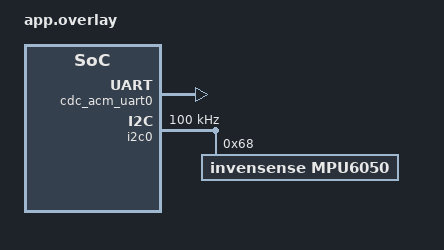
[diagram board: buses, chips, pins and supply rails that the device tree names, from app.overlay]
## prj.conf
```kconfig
# ==============================================================================
# Basic System Configuration (for Zephyr v4.3.0)
# ==============================================================================
CONFIG_CPP=y
CONFIG_GLIBCXX_LIBCPP=y

# CONFIG_NEWLIB_LIBC=y
# CONFIG_NEWLIB_LIBC_FLOAT_PRINTF=y

CONFIG_CBPRINTF_FP_SUPPORT=y
CONFIG_FPU=y
CONFIG_MAIN_STACK_SIZE=8192

# ==============================================================================
# Logging, Console & Shell
# ==============================================================================
CONFIG_SERIAL=y
CONFIG_CONSOLE=y
CONFIG_UART_CONSOLE=y
CONFIG_UART_LINE_CTRL=y
CONFIG_ASSERT=y
CONFIG_PRINTK=y
CONFIG_LOG=y
CONFIG_LOG_MODE_IMMEDIATE=y

# ==============================================================================
# USB Configuration (for Zephyr v4.3.0)
# ==============================================================================
CONFIG_USB_DEVICE_STACK=y
CONFIG_USB_CDC_ACM=y
CONFIG_USB_DEVICE_PRODUCT="RPi Pico EI Demo"
CONFIG_USB_DEVICE_VID=0x0001

# ==============================================================================
# Hardware Drivers
# ==============================================================================
CONFIG_GPIO=y
CONFIG_I2C=y
CONFIG_SENSOR=y
CONFIG_MPU6050=y
```

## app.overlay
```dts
/ {
    chosen {
        zephyr,console = &cdc_acm_uart0;
    };
};

&zephyr_udc0 {
    cdc_acm_uart0: cdc_acm_uart0 {
    	compatible = "zephyr,cdc-acm-uart";
        label = "CDC_ACM_0";
    };
};

&i2c0 {
	status = "okay";
	pinctrl-0 = <&i2c0_default>;
	pinctrl-names = "default";
	clock-frequency = <I2C_BITRATE_STANDARD>;

	mpu6050@68 {
		compatible = "invensense,mpu6050";
		reg = <0x68>;
		label = "MPU6050";
	};
};
```

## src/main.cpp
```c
/*
 * SPDX-License-Identifier: Apache-2.0
 */

// --- Zephyr RTOS includes ---
#include <zephyr/kernel.h>
#include <zephyr/sys/util.h>
#include <string.h>
#include <zephyr/usb/usb_device.h>
#include <zephyr/drivers/uart.h>
#include <zephyr/device.h>
#include <zephyr/drivers/sensor.h>
#include <zephyr/logging/log.h>

// --- Edge Impulse SDK includes ---
#include "edge-impulse-sdk/classifier/ei_run_classifier.h"

// --- Constants and Macros ---
#define STANDARD_GRAVITY 9.80665f

// Sampling parameters
#define SAMPLING_RATE_HZ            104
#define SAMPLING_PERIOD_MS          (1000 / SAMPLING_RATE_HZ)

// Compile-time check for expected sensor axis count
#if EI_CLASSIFIER_RAW_SAMPLES_PER_FRAME != 3
#error "This implementation assumes 3-axis accelerometer data."
#endif

// Calculate the number of samples needed per inference window
#define NUM_SAMPLES_PER_INFERENCE   (EI_CLASSIFIER_DSP_INPUT_FRAME_SIZE / EI_CLASSIFIER_RAW_SAMPLES_PER_FRAME)

// Register the logging module
LOG_MODULE_REGISTER(main, LOG_LEVEL_DBG);

// --- Global Variables and Device Definitions ---

// Static buffer to hold the features for one inference window
static float features_buffer[EI_CLASSIFIER_DSP_INPUT_FRAME_SIZE];

// Assert that the console is configured to use USB CDC ACM
BUILD_ASSERT(DT_NODE_HAS_COMPAT(DT_CHOSEN(zephyr_console), zephyr_cdc_acm_uart),
             "Console device is not ACM CDC UART device");

// Get the console device handle from the device tree.
// 'extern' is used to give this const global variable external linkage in C++,
// allowing it to be referenced from other files (like the Edge Impulse SDK porting layer).
extern const struct device *const uart = DEVICE_DT_GET(DT_CHOSEN(zephyr_console));

// Get the MPU-6050 sensor device handle from the device tree
static const struct device *const mpu6050 = DEVICE_DT_GET_ANY(invensense_mpu6050);

// --- Function Prototypes ---
static void setup_mpu6050(void);
int raw_feature_get_data(size_t offset, size_t length, float *out_ptr);

// --- Main Application Entry Point ---
extern "C" int main(void)
{
    // 1. Initialize USB and wait for a connection
    uint32_t dtr = 0;

    if (usb_enable(NULL) != 0) {
        LOG_ERR("Failed to enable USB");
        return 1;
    }

    LOG_INF("Waiting for USB connection...");
    while (!dtr) {
        uart_line_ctrl_get(uart, UART_LINE_CTRL_DTR, &dtr);
        k_sleep(K_MSEC(100));
    }
    LOG_INF("USB connection established.");

    // 2. Set up the sensor
    setup_mpu6050();

    // 3. Main loop for data collection and inference
    struct sensor_value accel[3];

    while (1) {
        // --- Phase 1: Collect data for one inference window ---
        LOG_INF("Collecting %d samples for the next inference...", NUM_SAMPLES_PER_INFERENCE);

        for (uint32_t i = 0; i < NUM_SAMPLES_PER_INFERENCE; i++) {
            int64_t start_time_ms = k_uptime_get();

            if (sensor_sample_fetch(mpu6050) == 0) {
                sensor_channel_get(mpu6050, SENSOR_CHAN_ACCEL_XYZ, accel);

                size_t current_index = i * EI_CLASSIFIER_RAW_SAMPLES_PER_FRAME;
                features_buffer[current_index + 0] = (float)sensor_value_to_double(&accel[0]) / STANDARD_GRAVITY;
                features_buffer[current_index + 1] = (float)sensor_value_to_double(&accel[1]) / STANDARD_GRAVITY;
                features_buffer[current_index + 2] = (float)sensor_value_to_double(&accel[2]) / STANDARD_GRAVITY;
            } else {
                LOG_WRN("Failed to read sensor data, retrying sample %u...", i);
                i--; // Decrement counter to retry fetching this sample
            }

            // Sleep for the remaining time in the sampling period to maintain the sample rate
            int64_t processing_time_ms = k_uptime_get() - start_time_ms;
            int sleep_time_ms = SAMPLING_PERIOD_MS - (int)processing_time_ms;
            if (sleep_time_ms > 0) {
                k_sleep(K_MSEC(sleep_time_ms));
            }
        }
        LOG_INF("Data collection complete.");

        // --- Phase 2: Run inference on the collected data ---
        signal_t features_signal;
        features_signal.total_length = EI_CLASSIFIER_DSP_INPUT_FRAME_SIZE;
        features_signal.get_data = &raw_feature_get_data;

        ei_impulse_result_t result = {0};
        EI_IMPULSE_ERROR res = run_classifier(&features_signal, &result, false);

        if (res != EI_IMPULSE_OK) {
            LOG_ERR("Classifier returned error: %d", res);
        } else {
            LOG_INF("Predictions (DSP: %d ms, Classification: %d ms, Anomaly: %d ms):",
                    result.timing.dsp, result.timing.classification, result.timing.anomaly);
            for (size_t ix = 0; ix < EI_CLASSIFIER_LABEL_COUNT; ix++) {
                LOG_INF("    %s: %.5f", result.classification[ix].label,
                                        result.classification[ix].value);
            }
        #if EI_CLASSIFIER_HAS_ANOMALY == 1
            LOG_INF("    anomaly score: %.3f", result.anomaly);
        #endif
        }
    }

    return 0; // Should not be reached
}

// --- Function Definitions ---

/**
 * @brief Initializes the MPU-6050 sensor.
 */
static void setup_mpu6050(void)
{
    if (!device_is_ready(mpu6050)) {
        LOG_ERR("MPU-6050: Device is not ready.");
        return;
    }
    LOG_INF("MPU-6050: Device is ready.");
}

/**
 * @brief Callback function to provide raw sample data to the Edge Impulse SDK.
 *
 * This function is called by the classifier to get slices of the feature buffer.
 *
 * @param offset Starting index of the data to fetch.
 * @param length Number of float values to fetch.
 * @param out_ptr Pointer to the buffer where the data should be copied.
 * @return 0 on success.
 */
int raw_feature_get_data(size_t offset, size_t length, float *out_ptr)
{
    memcpy(out_ptr, features_buffer + offset, length * sizeof(float));
    return 0;
}
```
